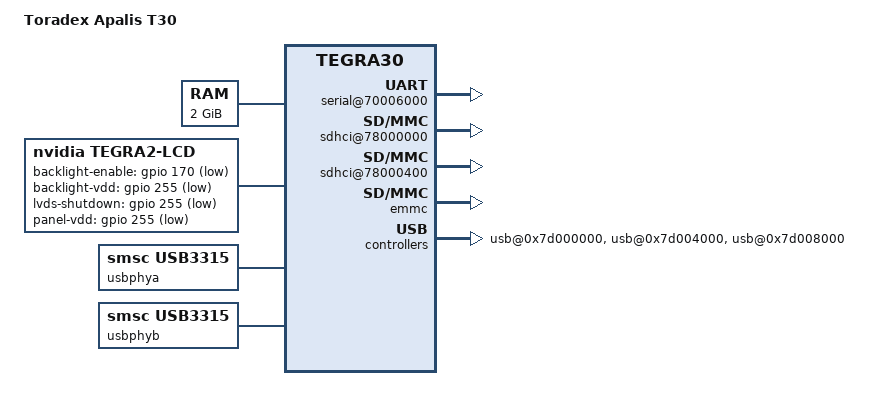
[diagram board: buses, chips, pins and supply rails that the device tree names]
/dts-v1/;

/memreserve/ 0x1c000000 0x04000000;
/include/ "../../nvidia/cardhu/tegra30.dtsi"

/ {
	model = "Toradex Apalis T30";
	compatible = "toradex,apalis_t30", "nvidia,tegra30";

	config {
		machine-arch-id = <4513>;
	};

	aliases {
		console = "/serial@70006000";
		usb0 = "/usb@0x7d000000";
		usb1 = "/usb@0x7d004000";
		usb2 = "/usb@0x7d008000";

		sdmmc0 = "/sdhci@78000600";
		sdmmc1 = "/sdhci@78000400";
		sdmmc2 = "/sdhci@78000000";

		i2c0 = "/i2c@0x7000d000";
		i2c1 = "/i2c@0x7000c000";
		i2c2 = "/i2c@0x7000c400";
		i2c3 = "/i2c@0x7000c500";
		i2c4 = "/i2c@0x7000c700";
	};

	memory {
		device_type = "memory";
		reg = <0x80000000 0x80000000>;
	};

	serial@70006000 {
		status = "ok";
		/*
		 * TBD - use CONFIG_SYS_PLLP_BASE_IS_408MHZ somehow here.
		 * Currently I put this back to 216MHz in fdt_decode.c
		 */
		clock-frequency = <408000000>;
	};

	/* SD - SDMMC1 */
	sdhci@78000000 {
		status = "ok";
		width = <4>;	/* width of SDIO port */
		removable = <1>;
		/* Parameter 3 bit 0:1=output, 0=input; bit 1:1=high, 0=low */
		cd-gpio = <&gpio 229 0>; /* card detect, gpio PCC5, SD1_CD_N */
	};

	/* MMC - SDMMC3 */
//8-bit support broken
	sdhci@78000400 {
		status = "ok";
		width = <4>;	/* width of SDIO port */
		removable = <1>;
		/* Parameter 3 bit 0:1=output, 0=input; bit 1:1=high, 0=low */
		cd-gpio = <&gpio 171 0>; /* card detect, gpio PV3, MMC1_CD_N */
	};

	/* Internal eMMC - SDMMC4 */
//8-bit support broken
	emmc: sdhci@78000600 {
		status = "ok";
		width = <4>;	/* width of SDIO port */
		removable = <0>;
	};

	lcd {
		compatible = "nvidia,tegra2-lcd";
		width = <640>;
		height = <480>;
		bits_per_pixel = <16>;
		pwfm = <&pwfm0>;
		display = <&display1>;
                /* frame-buffer location = top of memory - carveout - fb */
		frame-buffer = <0xbfb00000>;

		pixel_clock = <25175000>;

		/* Timing: ref_to_sync, sync_width, back_porch, front_porch */
		horiz_timing = <0 96 48 16>;
		vert_timing = <1 2 31 11>;

		/* 800x480@60 (e.g. EDT ET070080DH6)
		pixel_clock = <32460000>;
		width = <800>;
		height = <480>;
		horiz_timing = <1 64 128 64>;
		vert_timing = <1 3 22 20>;
		*/

		/* 1024x768 timings
		pixel_clock = <72000000>;
		width = <1024>;
		height = <768>;
		horiz_timing = <0 136 160 24>;
		vert_timing = <1 6 29 3>;
		*/

		/* Parameter 3 bit 0:1=output, 0=input; bit 1:1=high, 0=low */
		backlight-enable = <&gpio 170 1>; /* PV2 - SODIMM 71: BL_ON */
		backlight-vdd = <&gpio 255 1>;
		lvds-shutdown = <&gpio 255 1>;
		panel-vdd = <&gpio 255 1>;

		/*
		 * Panel required timings
		 * Timing 1: delay between panel_vdd-rise and data-rise
		 * Timing 2: delay between data-rise and backlight_vdd-rise
		 * Timing 3: delay between backlight_vdd and pwm-rise
		 * Timing 4: delay between pwm-rise and backlight_en-rise
		 */
		panel-timings = <0 0 0 0>;
	};

	/* EHCI instance 0: USB1_DP/N -> USBO1_DP/N */
//currently broken
	usb@0x7d000000 {
		status = "ok";
		host-mode = <1>;
		vbus-gpio = <&gpio 157 3>;	/* PT5, USBO1_EN */
	};

	usbphya: usbphy@0 {
		compatible = "smsc,usb3315";
		status = "ok";
	};

	/* EHCI instance 1: USB2_DP/N -> USBH2_DP/N */
	usb@0x7d004000 {
		status = "ok";
		utmi = <&usbphya>;
		host-mode = <0>;
		vbus-gpio = <&gpio 233 3>;	/* PDD1, USBH_EN */
	};

	usbphyb: usbphy@0 {
		compatible = "smsc,usb3315";
		status = "ok";
	};

	/* EHCI instance 2: USB3_DP/N -> USBH3_DP/N */
	usb@0x7d008000 {
		status = "ok";
		utmi = <&usbphyb>;
		host-mode = <0>;
	};
};
